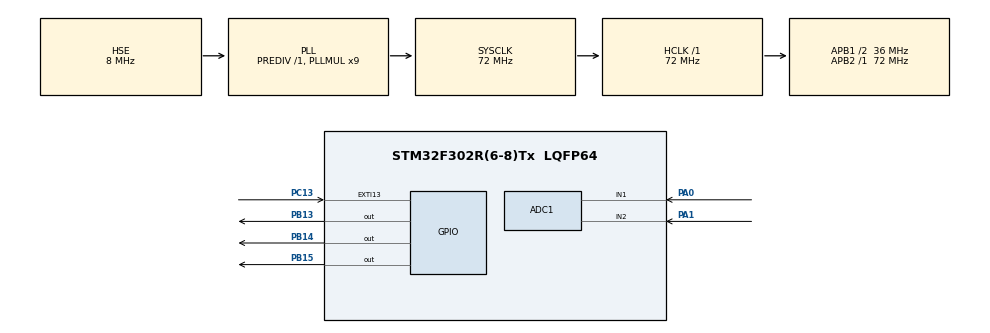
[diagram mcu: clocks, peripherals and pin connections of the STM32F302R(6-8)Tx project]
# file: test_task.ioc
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ADC1.Channel-0\#ChannelRegularConversion=ADC_CHANNEL_1
ADC1.ContinuousConvMode=ENABLE
ADC1.EOCSelection=ADC_EOC_SEQ_CONV
ADC1.NbrOfConversion=1
ADC1.NbrOfConversionFlag=1
ADC1.Offset-0\#ChannelRegularConversion=0
ADC1.OffsetNumber-0\#ChannelRegularConversion=ADC_OFFSET_NONE
ADC1.Rank-0\#ChannelRegularConversion=1
ADC1.SamplingTime-0\#ChannelRegularConversion=ADC_SAMPLETIME_601CYCLES_5
ADC1.SubFamily=STM32F302x8
ADC1.master=1
FREERTOS.Tasks01=defaultTask,0,128,StartDefaultTask,Default,NULL,Dynamic,NULL,NULL
FREERTOS.configUSE_NEWLIB_REENTRANT=1
Mcu.Family=STM32F3
Mcu.Name=STM32F302R(6-8)Tx
Mcu.Package=LQFP64
NVIC.ADC1_IRQn=true\:5\:0\:false\:false\:true\:true\:true\:true\:true
NVIC.EXTI15_10_IRQn=true\:5\:0\:false\:false\:true\:true\:true\:true\:true
NVIC.PriorityGroup=NVIC_PRIORITYGROUP_4
NVIC.TIM6_DAC_IRQn=true\:15\:0\:false\:false\:true\:false\:false\:true\:true
NVIC.TimeBase=TIM6_DAC_IRQn
NVIC.TimeBaseIP=TIM6
PA0.Mode=IN1-Single-Ended
PA0.Signal=ADC1_IN1
PA1.Mode=IN2-Single-Ended
PA1.Signal=ADC1_IN2
PB13.Signal=GPIO_Output
PB14.Signal=GPIO_Output
PB15.Signal=GPIO_Output
PC13.Signal=GPXTI13
PF0-OSC_IN.Mode=HSE-External-Oscillator
PF0-OSC_IN.Signal=RCC_OSC_IN
PF1-OSC_OUT.Mode=HSE-External-Oscillator
PF1-OSC_OUT.Signal=RCC_OSC_OUT
ProjectManager.HeapSize=0x200
ProjectManager.StackSize=0x400
ProjectManager.TargetToolchain=STM32CubeIDE
RCC.AHBFreq_Value=72000000
RCC.APB1CLKDivider=RCC_HCLK_DIV2
RCC.APB1Freq_Value=36000000
RCC.APB1TimFreq_Value=72000000
RCC.APB2Freq_Value=72000000
RCC.APB2TimFreq_Value=72000000
RCC.CortexFreq_Value=72000000
RCC.HCLKFreq_Value=72000000
RCC.HSE_VALUE=8000000
RCC.HSI_VALUE=8000000
RCC.LSE_VALUE=32768
RCC.PLLM=8
RCC.PLLMUL=RCC_PLL_MUL9
RCC.PLLN=336
RCC.PLLP=RCC_PLLP_DIV4
RCC.PLLQ=7
RCC.PLLSourceVirtual=RCC_PLLSOURCE_HSE
RCC.SYSCLKFreq_VALUE=72000000
RCC.SYSCLKSourceVirtual=RCC_SYSCLKSOURCE_PLLCLK
RCC.USBFreq_Value=72000000
VP_FREERTOS_VS_CMSIS_V1.Mode=CMSIS_V1
VP_SYS_VS_tim6.Mode=TIM6
board=NUCLEO-F302R8

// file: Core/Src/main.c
/* USER CODE BEGIN Header */
/**
  ******************************************************************************
  * @file           : main.c
  * @brief          : Main program body
  ******************************************************************************
  * @attention
  *
  * Copyright (c) 2024 STMicroelectronics.
  * All rights reserved.
  *
  * This software is licensed under terms that can be found in the LICENSE file
  * in the root directory of this software component.
  * If no LICENSE file comes with this software, it is provided AS-IS.
  *
  ******************************************************************************
  */
/* USER CODE END Header */
#include "main.h"

/* USER CODE BEGIN Includes */
#include "FreeRTOS.h"
#include "task.h"
#include "timers.h"
#include "queue.h"
#include "semphr.h"
#include "event_groups.h"

#include "stdlib.h"
#include "string.h"
/* USER CODE END Includes */

ADC_HandleTypeDef hadc1;

void SystemClock_Config(void);
static void MX_GPIO_Init(void);
static void MX_ADC1_Init(void);

/* USER CODE BEGIN 0 */

//create task defines

TaskHandle_t HPThandler;
void led_task(void *pvParameters);

TaskHandle_t LPThandler;
void lpt_task(void *pvParameters);

TaskHandle_t adc1_handler;
void adc1_task(void *pvParameters);

TaskHandle_t adc2_handler;
void adc2_task(void *pvParameters);

TaskHandle_t button_handler;
void button_task(void *pvParameters);

SemaphoreHandle_t buttonsemaphore;

int count=0;
int flag=0;
int adc_val=0;
int adc2_val=0;
//uint16_t arr[] = {ADC_CHANNEL_1, ADC_CHANNEL_2};

void channel_select(uint16_t channel)
{
	ADC_ChannelConfTypeDef sConfig = {0};

	  sConfig.Channel = channel;
	  sConfig.Rank = ADC_REGULAR_RANK_1;
	  sConfig.SingleDiff = ADC_SINGLE_ENDED;
	  sConfig.SamplingTime = ADC_SAMPLETIME_601CYCLES_5;
	  sConfig.OffsetNumber = ADC_OFFSET_NONE;
	  sConfig.Offset = 0;
	  if (HAL_ADC_ConfigChannel(&hadc1, &sConfig) != HAL_OK)
	  {
	    Error_Handler();
	  }
}

void HAL_GPIO_EXTI_Callback(uint16_t GPIO_Pin)
{

//	BaseType_t xHigherPriorityTaskWoken = pdFALSE;
	  if (GPIO_Pin == GPIO_PIN_13) // Ensure it's the correct pin
	    {
	        flag = !flag; // Toggle the flag between 0 and 1
//	        xSemaphoreGiveFromISR(buttonsemaphore,&xHigherPriorityTaskWoken);
//	        portYIELD_FROM_ISR(xHigherPriorityTaskWoken);
//	        if(flag)
//	        {
//	        	HAL_GPIO_WritePin(GPIOB, GPIO_PIN_15, GPIO_PIN_SET);
//	        }
//	        else
//	        {
//	        	HAL_GPIO_WritePin(GPIOB, GPIO_PIN_15, GPIO_PIN_RESET);
//	        }

	    }
}
//void monitorHeapUsage(void)
//{
//    // Get the current free heap size
////    size_t freeHeapSize = xPortGetFreeHeapSize();
//
//    // Print the free heap size
////    printf("Free Heap Size: %u bytes\n", (unsigned int)freeHeapSize);
//}
/* USER CODE END 0 */

int main(void)
{

  /* MCU Configuration--------------------------------------------------------*/

  /* Reset of all peripherals, Initializes the Flash interface and the Systick. */
  HAL_Init();

  /* Configure the system clock */
  SystemClock_Config();

  /* Initialize all configured peripherals */
  MX_GPIO_Init();
  MX_ADC1_Init();
  /* USER CODE BEGIN 2 */
//create task

  xTaskCreate(led_task, "hpt", 128	, NULL, 3, &HPThandler);
  xTaskCreate(lpt_task, "lpt", 128, NULL, 0, &LPThandler);
  xTaskCreate(adc1_task, "adc1", 128, NULL, 3, &adc1_handler);
  xTaskCreate(adc2_task, "adc2", 128, NULL, 3, &adc2_handler);
  xTaskCreate(button_task, "button", 128, NULL, 3, &button_handler);

//  buttonsemaphore=xSemaphoreCreateBinary();
//  if (buttonsemaphore == NULL) {
//      // Handle the error
//      count = 9;
//  } else {
//      xSemaphoreGive(buttonsemaphore); // Initialize the semaphore to available
//  }

  vTaskStartScheduler();
  /* USER CODE END 2 */

  /* Create the thread(s) */
  /* definition and creation of defaultTask */

  /* Start scheduler */

  /* We should never get here as control is now taken by the scheduler */

  /* Infinite loop */
  while (1)
  {

  }
}

void SystemClock_Config(void)
{
  RCC_OscInitTypeDef RCC_OscInitStruct = {0};
  RCC_ClkInitTypeDef RCC_ClkInitStruct = {0};
  RCC_PeriphCLKInitTypeDef PeriphClkInit = {0};

  /** Initializes the RCC Oscillators according to the specified parameters
  * in the RCC_OscInitTypeDef structure.
  */
  RCC_OscInitStruct.OscillatorType = RCC_OSCILLATORTYPE_HSE;
  RCC_OscInitStruct.HSEState = RCC_HSE_ON;
  RCC_OscInitStruct.HSEPredivValue = RCC_HSE_PREDIV_DIV1;
  RCC_OscInitStruct.HSIState = RCC_HSI_ON;
  RCC_OscInitStruct.PLL.PLLState = RCC_PLL_ON;
  RCC_OscInitStruct.PLL.PLLSource = RCC_PLLSOURCE_HSE;
  RCC_OscInitStruct.PLL.PLLMUL = RCC_PLL_MUL9;
  if (HAL_RCC_OscConfig(&RCC_OscInitStruct) != HAL_OK)
  {
    Error_Handler();
  }

  /** Initializes the CPU, AHB and APB buses clocks
  */
  RCC_ClkInitStruct.ClockType = RCC_CLOCKTYPE_HCLK|RCC_CLOCKTYPE_SYSCLK
                              |RCC_CLOCKTYPE_PCLK1|RCC_CLOCKTYPE_PCLK2;
  RCC_ClkInitStruct.SYSCLKSource = RCC_SYSCLKSOURCE_PLLCLK;
  RCC_ClkInitStruct.AHBCLKDivider = RCC_SYSCLK_DIV1;
  RCC_ClkInitStruct.APB1CLKDivider = RCC_HCLK_DIV2;
  RCC_ClkInitStruct.APB2CLKDivider = RCC_HCLK_DIV1;

  if (HAL_RCC_ClockConfig(&RCC_ClkInitStruct, FLASH_LATENCY_2) != HAL_OK)
  {
    Error_Handler();
  }
  PeriphClkInit.PeriphClockSelection = RCC_PERIPHCLK_ADC1;
  PeriphClkInit.Adc1ClockSelection = RCC_ADC1PLLCLK_DIV1;

  if (HAL_RCCEx_PeriphCLKConfig(&PeriphClkInit) != HAL_OK)
  {
    Error_Handler();
  }
}

static void MX_ADC1_Init(void)
{

  ADC_ChannelConfTypeDef sConfig = {0};

  /** Common config
  */
  hadc1.Instance = ADC1;
  hadc1.Init.ClockPrescaler = ADC_CLOCK_ASYNC_DIV1;
  hadc1.Init.Resolution = ADC_RESOLUTION_12B;
  hadc1.Init.ScanConvMode = ADC_SCAN_DISABLE;
  hadc1.Init.ContinuousConvMode = ENABLE;
  hadc1.Init.DiscontinuousConvMode = DISABLE;
  hadc1.Init.ExternalTrigConvEdge = ADC_EXTERNALTRIGCONVEDGE_NONE;
  hadc1.Init.ExternalTrigConv = ADC_SOFTWARE_START;
  hadc1.Init.DataAlign = ADC_DATAALIGN_RIGHT;
  hadc1.Init.NbrOfConversion = 1;
  hadc1.Init.DMAContinuousRequests = DISABLE;
  hadc1.Init.EOCSelection = ADC_EOC_SEQ_CONV;
  hadc1.Init.LowPowerAutoWait = DISABLE;
  hadc1.Init.Overrun = ADC_OVR_DATA_OVERWRITTEN;
  if (HAL_ADC_Init(&hadc1) != HAL_OK)
  {
    Error_Handler();
  }

  /** Configure Regular Channel
  */
  sConfig.Channel = ADC_CHANNEL_1;
  sConfig.Rank = ADC_REGULAR_RANK_1;
  sConfig.SingleDiff = ADC_SINGLE_ENDED;
  sConfig.SamplingTime = ADC_SAMPLETIME_601CYCLES_5;
  sConfig.OffsetNumber = ADC_OFFSET_NONE;
  sConfig.Offset = 0;
  if (HAL_ADC_ConfigChannel(&hadc1, &sConfig) != HAL_OK)
  {
    Error_Handler();
  }

}

static void MX_GPIO_Init(void)
{
  GPIO_InitTypeDef GPIO_InitStruct = {0};

  /* GPIO Ports Clock Enable */
  __HAL_RCC_GPIOC_CLK_ENABLE();
  __HAL_RCC_GPIOF_CLK_ENABLE();
  __HAL_RCC_GPIOA_CLK_ENABLE();
  __HAL_RCC_GPIOB_CLK_ENABLE();

  /*Configure GPIO pin Output Level */
  HAL_GPIO_WritePin(GPIOB, GPIO_PIN_13|GPIO_PIN_14|GPIO_PIN_15, GPIO_PIN_RESET);

  /*Configure GPIO pin : PC13 */
  GPIO_InitStruct.Pin = GPIO_PIN_13;
  GPIO_InitStruct.Mode = GPIO_MODE_IT_RISING;
  GPIO_InitStruct.Pull = GPIO_NOPULL;
  HAL_GPIO_Init(GPIOC, &GPIO_InitStruct);

  /*Configure GPIO pins : PB13 PB14 PB15 */
  GPIO_InitStruct.Pin = GPIO_PIN_13|GPIO_PIN_14|GPIO_PIN_15;
  GPIO_InitStruct.Mode = GPIO_MODE_OUTPUT_PP;
  GPIO_InitStruct.Pull = GPIO_NOPULL;
  GPIO_InitStruct.Speed = GPIO_SPEED_FREQ_LOW;
  HAL_GPIO_Init(GPIOB, &GPIO_InitStruct);

  /* EXTI interrupt init*/
  HAL_NVIC_SetPriority(EXTI15_10_IRQn, 5, 0);
  HAL_NVIC_EnableIRQ(EXTI15_10_IRQn);

}

/* USER CODE BEGIN 4 */
void led_task(void *pvParameters)
{
TickType_t time=xTaskGetTickCount();
TickType_t timm=xTaskGetTickCount();
	while(1)
	{
		if((xTaskGetTickCount()-time)>pdMS_TO_TICKS(500))
				{
			time=xTaskGetTickCount();
			HAL_GPIO_TogglePin(GPIOB, GPIO_PIN_13);
				}

		if((xTaskGetTickCount()-timm)>pdMS_TO_TICKS(200))
				{
			timm=xTaskGetTickCount();
			HAL_GPIO_TogglePin(GPIOB, GPIO_PIN_14);

				}
		vTaskDelay(pdMS_TO_TICKS(1));
	}

}

void lpt_task(void *pvParameters)
{
//TickType_t time2=xTaskGetTickCount();
	while(1)
	{

//		if((xTaskGetTickCount()-time2)>pdMS_TO_TICKS(200))
//		{
//			time2=xTaskGetTickCount();
//			HAL_GPIO_TogglePin(GPIOB, GPIO_PIN_14);
//		}
		vTaskDelay(pdMS_TO_TICKS(10));
	}

}

void adc1_task(void *pvParameters)
{

	TickType_t tim=xTaskGetTickCount();
	while(1)
	{

		channel_select(ADC_CHANNEL_1);

		if((xTaskGetTickCount()-tim)>pdMS_TO_TICKS(100))
		{
			tim=xTaskGetTickCount();
	HAL_ADC_Start(&hadc1);
	HAL_ADC_PollForConversion(&hadc1, HAL_MAX_DELAY);
	adc_val=HAL_ADC_GetValue(&hadc1);
	HAL_ADC_Stop(&hadc1);

		}
		vTaskDelay(pdMS_TO_TICKS(1));
	}
}

void adc2_task(void *pvParameters)
{

		TickType_t tim3=xTaskGetTickCount();
		while(1)
		{
			channel_select(ADC_CHANNEL_2);

			if((xTaskGetTickCount()-tim3)>pdMS_TO_TICKS(100))
			{
				tim3=xTaskGetTickCount();
		HAL_ADC_Start(&hadc1);
		HAL_ADC_PollForConversion(&hadc1, HAL_MAX_DELAY);
		adc2_val=HAL_ADC_GetValue(&hadc1);
		HAL_ADC_Stop(&hadc1);

			}
			count++;
			vTaskDelay(pdMS_TO_TICKS(1));
		}
}

void button_task(void *pvParameters)
{
	while(1)
	{
	if(flag)
	{
		HAL_GPIO_WritePin(GPIOB, GPIO_PIN_15, GPIO_PIN_SET);
		count=1;
	}
	else
	{
		HAL_GPIO_WritePin(GPIOB, GPIO_PIN_15, GPIO_PIN_RESET);

			count=0;
	}
	count++;
//	vTaskDelay(pdMS_TO_TICKS(10));

//		if(xSemaphoreTake(buttonsemaphore,portMAX_DELAY)==pdTRUE)
//		{
//			count++;
//            flag = !flag;
//
//            // Set or reset LED based on the state
//            if (flag)
//            {
//                HAL_GPIO_WritePin(GPIOB, GPIO_PIN_15, GPIO_PIN_SET);   // Turn on LED
//            }
//            else
//            {
//                HAL_GPIO_WritePin(GPIOB, GPIO_PIN_15, GPIO_PIN_RESET); // Turn off LED
//            }
//		}
//		else
//		{
//			count++;
//		}
		vTaskDelay(pdMS_TO_TICKS(100));
	}
}
/* USER CODE END 4 */

void HAL_TIM_PeriodElapsedCallback(TIM_HandleTypeDef *htim)
{
  if (htim->Instance == TIM6) {
    HAL_IncTick();
  }
}

void Error_Handler(void)
{
  __disable_irq();
  while (1)
  {
  }
}
